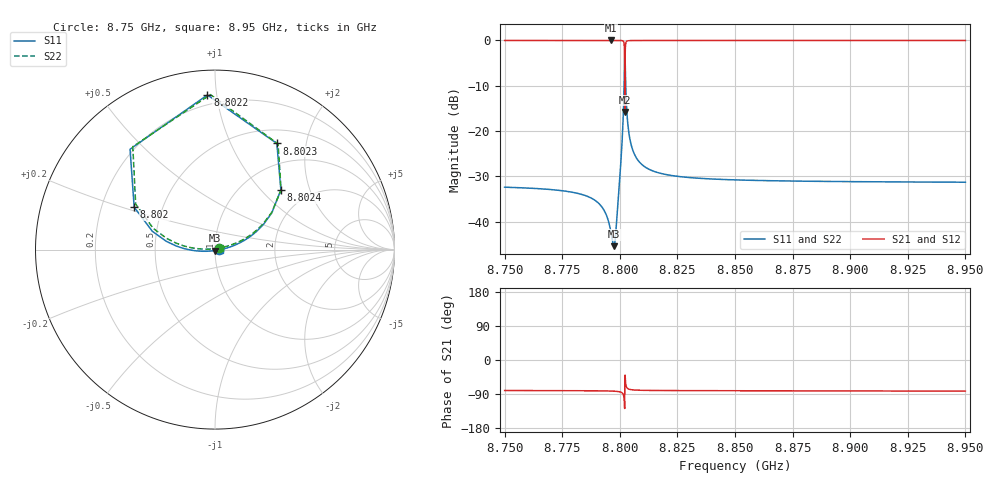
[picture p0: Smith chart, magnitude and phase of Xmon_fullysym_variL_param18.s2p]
! Sonnet Data File
! From: emgraph Version : 16.52
! From Project: 171117_Xmon_fullysym
! Data is De-embedded
! Data File Written: 11/26/2017 17:14:24
!< HDATE 11/22/2017 16:48:52
!< MDATE 11/23/2017 10:16:42
!< PARAMS
!< Lj = 11.0
!< Gap = 1.0
!< Pwid = 2000.0
!< Airgap = 6.0
!< Width = 10.0
!< Lj1 = 9.6
!< END PARAMS
# GHZ S MA R 50.90000
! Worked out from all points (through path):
!   2001 points, 8.75 GHz to 8.95 GHz, reference 50.9 ohm
!   highest |S21| = 0.00 dB at 8.796 GHz (marker M1); lowest = -15.8 dB at 8.8022 GHz (marker M2)
!   lowest |S11| = -45.4 dB at 8.7974 GHz (marker M3), VSWR 1.01, Z = 51 - j0.54 ohm
!   |S11| at or under -10 dB: start of sweep to 8.8018 GHz; 8.8026 GHz to end of sweep
!   |S22| runs from -45.1 to -1.3 dB; largest |S21 - S12| = 7.6e-11
!   S11 on the Smith chart (normalised r, x): 8.75 GHz: 1.05, -0.00; 8.802 GHz: 0.34, +0.22; 8.8022 GHz: 0.14, +0.94; 8.8023 GHz: 0.68, +1.52; 8.8024 GHz: 1.48, +1.30; 8.95 GHz: 1.06, -0.00
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8.75  0.02406 -2.9  0.9997 -80.5  0.9997 -80.5  0.02406 22.0
!< P1 F=8.75 Eeff=(6.44841643 -2.9796e-5) Z0=(50.9085185 1.17018e-4) R=0.0 C=0.0
!< P2 F=8.75 Eeff=(6.44841643 -2.9796e-5) Z0=(50.9085185 1.17018e-4) R=0.0 C=0.0
8.7834  0.02004 -6.2  0.9998 -81.0  0.9998 -81.0  0.02004 24.2
8.7919  0.01492 -12.3  0.9999 -81.4  0.9999 -81.4  0.01494 29.6
8.796  0.008069 -33.5  0.9999 -81.9  0.9999 -81.9  0.008154 50.3
8.7974  0.005376 -79.7  0.9999 -82.3  0.9999 -82.3  0.005583 95.3
8.7982  0.007283 -125.0  0.9998 -82.6  0.9998 -82.6  0.007502 138.3
8.7992  0.01614 -153.7  0.9996 -83.2  0.9996 -83.2  0.01631 165.6
8.8005  0.0471 -168.7  0.9981 -85.0  0.9981 -85.0  0.04729 176.8
8.8012  0.09792 -175.5  0.9928 -87.9  0.9928 -87.9  0.09818 176.9
8.802  0.5085 152.3  0.809 -112.7  0.809 -112.7  0.5094 150.2
8.8022  0.8625 92.8  0.1626 -52.2  0.1626 -52.2  0.864 91.7
8.8023  0.6846 59.8  0.6266 -39.8  0.6266 -39.8  0.6857 59.2
8.8024  0.4953 42.2  0.8276 -52.7  0.8276 -52.7  0.496 42.1
8.8029  0.1932 19.1  0.9767 -71.2  0.9767 -71.2  0.1935 21.1
8.8033  0.1346 14.5  0.989 -74.6  0.989 -74.6  0.1348 17.9
8.8042  0.08658 10.0  0.9957 -77.4  0.9957 -77.4  0.08665 16.0
8.8061  0.05736 6.2  0.9982 -79.1  0.9982 -79.1  0.05739 16.0
8.8167  0.03472 1.0  0.9994 -80.5  0.9994 -80.5  0.03473 18.0
8.85  0.02896 -1.5  0.9996 -81.1  0.9996 -81.1  0.02896 19.3
8.8834  0.02794 -2.4  0.9996 -81.5  0.9996 -81.5  0.02794 19.4
8.9167  0.02753 -3.0  0.9996 -81.8  0.9996 -81.8  0.02753 19.3
8.95  0.0273 -3.5  0.9996 -82.2  0.9996 -82.2  0.0273 19.2
